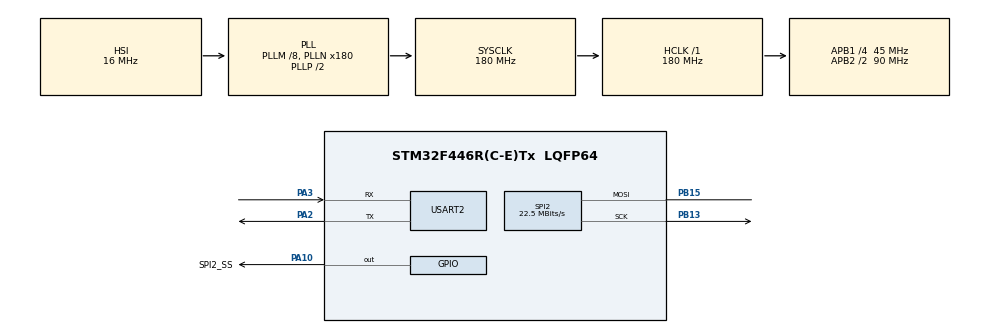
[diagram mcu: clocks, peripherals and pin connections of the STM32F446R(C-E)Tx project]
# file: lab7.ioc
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Mcu.Family=STM32F4
Mcu.Name=STM32F446R(C-E)Tx
Mcu.Package=LQFP64
NVIC.PriorityGroup=NVIC_PRIORITYGROUP_4
NVIC.SPI2_IRQn=true\:0\:0\:false\:false\:true\:true\:true\:true
NVIC.TIM1_UP_TIM10_IRQn=true\:0\:0\:false\:false\:true\:true\:true\:true
NVIC.USART2_IRQn=true\:0\:0\:false\:false\:true\:true\:true\:true
PA10.GPIO_Label=SPI2_SS
PA10.Signal=GPIO_Output
PA2.Mode=Asynchronous
PA2.Signal=USART2_TX
PA3.Mode=Asynchronous
PA3.Signal=USART2_RX
PB13.Mode=Simplex_Bidirectional_Master
PB13.Signal=SPI2_SCK
PB15.Mode=Simplex_Bidirectional_Master
PB15.Signal=SPI2_MOSI
PH0-OSC_IN.Mode=HSE-External-Oscillator
PH0-OSC_IN.Signal=RCC_OSC_IN
PH1-OSC_OUT.Mode=HSE-External-Oscillator
PH1-OSC_OUT.Signal=RCC_OSC_OUT
ProjectManager.HeapSize=0x200
ProjectManager.StackSize=0x400
ProjectManager.TargetToolchain=STM32CubeIDE
RCC.AHBFreq_Value=180000000
RCC.APB1CLKDivider=RCC_HCLK_DIV4
RCC.APB1Freq_Value=45000000
RCC.APB1TimFreq_Value=90000000
RCC.APB2CLKDivider=RCC_HCLK_DIV2
RCC.APB2Freq_Value=90000000
RCC.APB2TimFreq_Value=180000000
RCC.CortexFreq_Value=180000000
RCC.HCLKFreq_Value=180000000
RCC.HSE_VALUE=8000000
RCC.PLLM=8
RCC.PLLN=180
RCC.SYSCLKFreq_VALUE=180000000
RCC.SYSCLKSource=RCC_SYSCLKSOURCE_PLLCLK
RCC.USBFreq_Value=180000000
RCC.VCOOutputFreq_Value=360000000
SPI2.CalculateBaudRate=22.5 MBits/s
SPI2.Direction=SPI_DIRECTION_1LINE
SPI2.Mode=SPI_MODE_MASTER
SPI2.VirtualType=VM_MASTER
TIM1.Period=999
TIM1.Prescaler=179
USART2.VirtualMode=VM_ASYNC
VP_TIM1_VS_ClockSourceINT.Mode=Internal
board=custom

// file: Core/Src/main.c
/* USER CODE BEGIN Header */
/**
  ******************************************************************************
  * @file           : main.c
  * @brief          : Main program body
  ******************************************************************************
  * @attention
  *
  * Copyright (c) 2024 STMicroelectronics.
  * All rights reserved.
  *
  * This software is licensed under terms that can be found in the LICENSE file
  * in the root directory of this software component.
  * If no LICENSE file comes with this software, it is provided AS-IS.
  *
  ******************************************************************************
  */
/* USER CODE END Header */
#include "main.h"
#include <string.h>

/* USER CODE BEGIN PD */
#define UART_RX_BUFFER_SIZE 32
#define MAX_DIGITS 8
/* USER CODE END PD */

SPI_HandleTypeDef hspi2;

TIM_HandleTypeDef htim1;

UART_HandleTypeDef huart2;

/* USER CODE BEGIN PV */
uint8_t digit_to_segment[] = {
    0b00111111, // 0
    0b00000110, // 1
    0b01011011, // 2
    0b01001111, // 3
    0b01100110, // 4
    0b01101101, // 5
    0b01111101, // 6
    0b00000111, // 7
    0b01111111, // 8
    0b01101111  // 9
};

// Глобальные переменные
uint8_t current_indicator = 0;  // Текущий индикатор для мультиплексирования
const char *display_string = "12345678"; // Строка для отображения

uint8_t spi_data[2];                     // Буфер для SPI

uint8_t uart_rx_buffer[UART_RX_BUFFER_SIZE];
uint8_t uart_index = 0;

uint8_t digit_states[MAX_DIGITS] = {0};
/* USER CODE END PV */

void SystemClock_Config(void);
static void MX_GPIO_Init(void);
static void MX_SPI2_Init(void);
static void MX_TIM1_Init(void);
static void MX_USART2_UART_Init(void);
/* USER CODE BEGIN PFP */

void ShiftRegister_Send(uint8_t indicator, uint8_t segments);
uint8_t char_to_digit(char c);
/* USER CODE END PFP */

int main(void)
{

  /* MCU Configuration--------------------------------------------------------*/

  /* Reset of all peripherals, Initializes the Flash interface and the Systick. */
  HAL_Init();

  /* Configure the system clock */
  SystemClock_Config();

  /* Initialize all configured peripherals */
  MX_GPIO_Init();
  MX_SPI2_Init();
  MX_TIM1_Init();
  MX_USART2_UART_Init();
  /* USER CODE BEGIN 2 */
  HAL_TIM_Base_Start_IT(&htim1);
  HAL_UART_Receive_IT(&huart2, (uint8_t *)uart_rx_buffer, 1);
  for (int i = 0; i < MAX_DIGITS; i++) {
	  digit_states[i] = digit_to_segment[0]; // Сегменты для '0'
  }
  /* USER CODE END 2 */

  /* Infinite loop */
  while (1)
  {

  }
}

void SystemClock_Config(void)
{
  RCC_OscInitTypeDef RCC_OscInitStruct = {0};
  RCC_ClkInitTypeDef RCC_ClkInitStruct = {0};

  /** Configure the main internal regulator output voltage
  */
  __HAL_RCC_PWR_CLK_ENABLE();
  __HAL_PWR_VOLTAGESCALING_CONFIG(PWR_REGULATOR_VOLTAGE_SCALE1);

  /** Initializes the RCC Oscillators according to the specified parameters
  * in the RCC_OscInitTypeDef structure.
  */
  RCC_OscInitStruct.OscillatorType = RCC_OSCILLATORTYPE_HSI;
  RCC_OscInitStruct.HSIState = RCC_HSI_ON;
  RCC_OscInitStruct.HSICalibrationValue = RCC_HSICALIBRATION_DEFAULT;
  RCC_OscInitStruct.PLL.PLLState = RCC_PLL_ON;
  RCC_OscInitStruct.PLL.PLLSource = RCC_PLLSOURCE_HSI;
  RCC_OscInitStruct.PLL.PLLM = 8;
  RCC_OscInitStruct.PLL.PLLN = 180;
  RCC_OscInitStruct.PLL.PLLP = RCC_PLLP_DIV2;
  RCC_OscInitStruct.PLL.PLLQ = 2;
  RCC_OscInitStruct.PLL.PLLR = 2;
  if (HAL_RCC_OscConfig(&RCC_OscInitStruct) != HAL_OK)
  {
    Error_Handler();
  }

  /** Activate the Over-Drive mode
  */
  if (HAL_PWREx_EnableOverDrive() != HAL_OK)
  {
    Error_Handler();
  }

  /** Initializes the CPU, AHB and APB buses clocks
  */
  RCC_ClkInitStruct.ClockType = RCC_CLOCKTYPE_HCLK|RCC_CLOCKTYPE_SYSCLK
                              |RCC_CLOCKTYPE_PCLK1|RCC_CLOCKTYPE_PCLK2;
  RCC_ClkInitStruct.SYSCLKSource = RCC_SYSCLKSOURCE_PLLCLK;
  RCC_ClkInitStruct.AHBCLKDivider = RCC_SYSCLK_DIV1;
  RCC_ClkInitStruct.APB1CLKDivider = RCC_HCLK_DIV4;
  RCC_ClkInitStruct.APB2CLKDivider = RCC_HCLK_DIV2;

  if (HAL_RCC_ClockConfig(&RCC_ClkInitStruct, FLASH_LATENCY_5) != HAL_OK)
  {
    Error_Handler();
  }
}

static void MX_SPI2_Init(void)
{

  /* SPI2 parameter configuration*/
  hspi2.Instance = SPI2;
  hspi2.Init.Mode = SPI_MODE_MASTER;
  hspi2.Init.Direction = SPI_DIRECTION_1LINE;
  hspi2.Init.DataSize = SPI_DATASIZE_8BIT;
  hspi2.Init.CLKPolarity = SPI_POLARITY_LOW;
  hspi2.Init.CLKPhase = SPI_PHASE_1EDGE;
  hspi2.Init.NSS = SPI_NSS_SOFT;
  hspi2.Init.BaudRatePrescaler = SPI_BAUDRATEPRESCALER_2;
  hspi2.Init.FirstBit = SPI_FIRSTBIT_MSB;
  hspi2.Init.TIMode = SPI_TIMODE_DISABLE;
  hspi2.Init.CRCCalculation = SPI_CRCCALCULATION_DISABLE;
  hspi2.Init.CRCPolynomial = 10;
  if (HAL_SPI_Init(&hspi2) != HAL_OK)
  {
    Error_Handler();
  }

}

static void MX_TIM1_Init(void)
{

  TIM_ClockConfigTypeDef sClockSourceConfig = {0};
  TIM_MasterConfigTypeDef sMasterConfig = {0};

  htim1.Instance = TIM1;
  htim1.Init.Prescaler = 179;
  htim1.Init.CounterMode = TIM_COUNTERMODE_UP;
  htim1.Init.Period = 999;
  htim1.Init.ClockDivision = TIM_CLOCKDIVISION_DIV1;
  htim1.Init.RepetitionCounter = 0;
  htim1.Init.AutoReloadPreload = TIM_AUTORELOAD_PRELOAD_DISABLE;
  if (HAL_TIM_Base_Init(&htim1) != HAL_OK)
  {
    Error_Handler();
  }
  sClockSourceConfig.ClockSource = TIM_CLOCKSOURCE_INTERNAL;
  if (HAL_TIM_ConfigClockSource(&htim1, &sClockSourceConfig) != HAL_OK)
  {
    Error_Handler();
  }
  sMasterConfig.MasterOutputTrigger = TIM_TRGO_RESET;
  sMasterConfig.MasterSlaveMode = TIM_MASTERSLAVEMODE_DISABLE;
  if (HAL_TIMEx_MasterConfigSynchronization(&htim1, &sMasterConfig) != HAL_OK)
  {
    Error_Handler();
  }

}

static void MX_USART2_UART_Init(void)
{

  huart2.Instance = USART2;
  huart2.Init.BaudRate = 115200;
  huart2.Init.WordLength = UART_WORDLENGTH_8B;
  huart2.Init.StopBits = UART_STOPBITS_1;
  huart2.Init.Parity = UART_PARITY_NONE;
  huart2.Init.Mode = UART_MODE_TX_RX;
  huart2.Init.HwFlowCtl = UART_HWCONTROL_NONE;
  huart2.Init.OverSampling = UART_OVERSAMPLING_16;
  if (HAL_UART_Init(&huart2) != HAL_OK)
  {
    Error_Handler();
  }

}

static void MX_GPIO_Init(void)
{
  GPIO_InitTypeDef GPIO_InitStruct = {0};

  /* GPIO Ports Clock Enable */
  __HAL_RCC_GPIOH_CLK_ENABLE();
  __HAL_RCC_GPIOA_CLK_ENABLE();
  __HAL_RCC_GPIOB_CLK_ENABLE();

  /*Configure GPIO pin Output Level */
  HAL_GPIO_WritePin(SPI2_SS_GPIO_Port, SPI2_SS_Pin, GPIO_PIN_RESET);

  /*Configure GPIO pin : SPI2_SS_Pin */
  GPIO_InitStruct.Pin = SPI2_SS_Pin;
  GPIO_InitStruct.Mode = GPIO_MODE_OUTPUT_PP;
  GPIO_InitStruct.Pull = GPIO_NOPULL;
  GPIO_InitStruct.Speed = GPIO_SPEED_FREQ_LOW;
  HAL_GPIO_Init(SPI2_SS_GPIO_Port, &GPIO_InitStruct);

}

/* USER CODE BEGIN 4 */
uint8_t char_to_digit(char c) {
    if (c >= '0' && c <= '9') {
        return c - '0'; // Преобразуем ASCII в число
    }
    return 0; // Если символ не число, возвращаем 0
}

void process_uart_string(char *str) {
    // Ищем символ 't' в строке
    char *start = strchr(str, 't');
    if (start == NULL) return;  // Если 't' не найден, ничего не делаем

    // Очистка текущего состояния индикаторов
    for (int i = 0; i < MAX_DIGITS; i++) {
        digit_states[i] = 0;
    }

    // Обработка строки, начиная с символа 't'
    uint8_t digit_index = 0;
    for (int i = 1; start[i] != '\r' && digit_index < MAX_DIGITS; i++) {
        if (start[i] == '.') {
            // Устанавливаем бит точки для предыдущей цифры
            if (digit_index > 0) {
                digit_states[digit_index - 1] |= 0b10000000;
            }
        } else if (start[i] >= '0' && start[i] <= '9') {
            // Сохраняем сегменты цифры
            digit_states[digit_index] = digit_to_segment[start[i] - '0'];
            digit_index++;
        }
    }
}

void HAL_SPI_TxCpltCallback(SPI_HandleTypeDef *hspi) {
    if (hspi->Instance == SPI2) {
        HAL_GPIO_WritePin(GPIOA, GPIO_PIN_10, GPIO_PIN_RESET);
        HAL_GPIO_WritePin(GPIOA, GPIO_PIN_10, GPIO_PIN_SET);
    }
}

void HAL_UART_RxCpltCallback(UART_HandleTypeDef *huart) {
    if (huart->Instance == USART2) {
        if (uart_rx_buffer[uart_index] == '\r') {
            uart_rx_buffer[uart_index + 1] = '\0'; // Завершаем строку
            process_uart_string((char *)uart_rx_buffer); // Обрабатываем строку
            uart_index = 0; // Сбрасываем индекс
        } else {
            uart_index++; // Увеличиваем индекс
            if (uart_index >= sizeof(uart_rx_buffer) - 1) {
				uart_index = 0; // Предотвращаем переполнение буфера
			}
        }

        // Снова запускаем приём данных
        HAL_UART_Receive_IT(&huart2, &uart_rx_buffer[uart_index], 1);
    }
}

void HAL_TIM_PeriodElapsedCallback(TIM_HandleTypeDef *htim) {
    if (htim->Instance == TIM1) {
        uint8_t indicator = ~(1 << current_indicator);
        uint8_t segments = digit_states[current_indicator];

        spi_data[0] = segments;
        spi_data[1] = indicator;

        HAL_SPI_Transmit_IT(&hspi2, spi_data, 2);

        current_indicator = (current_indicator + 1) % MAX_DIGITS;
    }
}
/* USER CODE END 4 */

void Error_Handler(void)
{
  __disable_irq();
  while (1)
  {
  }
}
